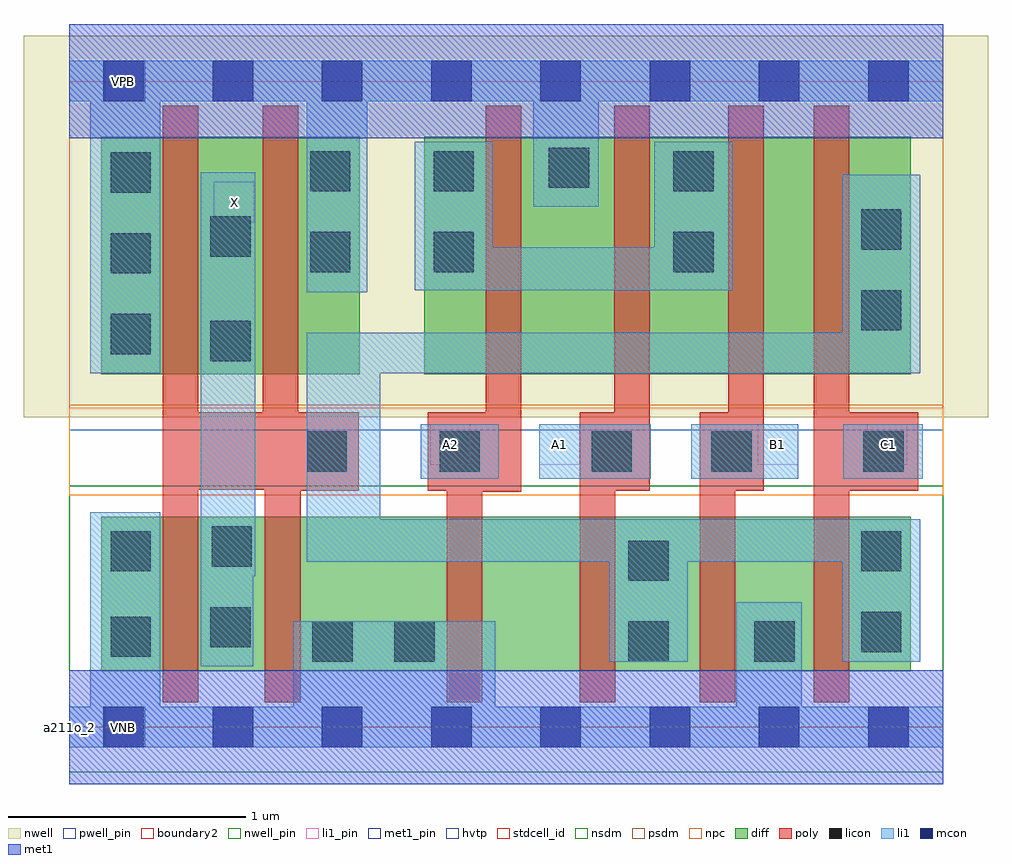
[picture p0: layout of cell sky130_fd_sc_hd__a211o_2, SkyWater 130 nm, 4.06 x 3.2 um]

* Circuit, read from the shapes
.subckt sky130_fd_sc_hd__a211o_2 A1 A2 B1 C1 VGND VNB VPB VPWR X
XM1 X n1 VGND VNB sky130_fd_pr__nfet_01v8 w=0.65 l=0.15 m=2
XM2 n2 A2 VGND VNB sky130_fd_pr__nfet_01v8 w=0.65 l=0.15
XM3 n1 A1 n2 VNB sky130_fd_pr__nfet_01v8 w=0.65 l=0.15
XM4 VGND B1 n1 VNB sky130_fd_pr__nfet_01v8 w=0.65 l=0.15
XM5 n1 C1 VGND VNB sky130_fd_pr__nfet_01v8 w=0.65 l=0.15
XM6 X n1 VPWR VPB sky130_fd_pr__pfet_01v8_hvt w=1 l=0.15 m=2
XM7 VPWR A2 n3 VPB sky130_fd_pr__pfet_01v8_hvt w=1 l=0.15
XM8 n3 A1 VPWR VPB sky130_fd_pr__pfet_01v8_hvt w=1 l=0.15
XM9 n4 B1 n3 VPB sky130_fd_pr__pfet_01v8_hvt w=1 l=0.15
XM10 n1 C1 n4 VPB sky130_fd_pr__pfet_01v8_hvt w=1 l=0.15
.ends

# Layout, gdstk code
import gdstk
lib = gdstk.Library(unit=1e-6, precision=1e-09)
def R(c, l, rs):  # rectangles x0, y0, x1, y1
    for r in rs: c.add(gdstk.rectangle(r[:2], r[2:], *l))
def A(c, l, x, y, w, h, nx, ny, dx, dy):  # array of equal rectangles
    R(c, l, [(x+i*dx, y+j*dy, x+i*dx+w, y+j*dy+h) for i in range(nx) for j in range(ny)])
def P(c, l, *ps):  # polygons
    for p in ps: c.add(gdstk.Polygon(p, *l))
nwell_pin = (64, 16)
nwell = (64, 20)
diff = (65, 20)
poly = (66, 20)
licon = (66, 44)
li1_pin = (67, 16)
li1 = (67, 20)
mcon = (67, 44)
met1_pin = (68, 16)
met1 = (68, 20)
hvtp = (78, 44)
stdcell_id = (81, 4)
nsdm = (93, 44)
psdm = (94, 20)
npc = (95, 20)
pwell_pin = (122, 16)
boundary2 = (236, 0)

sky130_fd_sc_hd__a211o_2 = lib.new_cell('sky130_fd_sc_hd__a211o_2')
R(sky130_fd_sc_hd__a211o_2, nwell_pin, [(0.15,2.635,0.32,2.805)])
R(sky130_fd_sc_hd__a211o_2, nwell, [(-0.19,1.305,3.87,2.91)])
R(sky130_fd_sc_hd__a211o_2, diff, [(0.135,0.235,3.545,0.885), (0.135,1.485,1.225,2.485), (1.495,1.485,3.545,2.485)])
R(sky130_fd_sc_hd__a211o_2, poly, [(1.755,0.99,1.905,2.615), (2.295,0.995,2.445,2.615), (2.775,1.31,2.925,2.615), (3.135,1.31,3.285,2.615)])
P(sky130_fd_sc_hd__a211o_2, poly, [(1.22,1.325),(0.965,1.325),(0.965,2.615),(0.815,2.615),(0.815,1.325),(0.545,1.325),(0.545,2.615),(0.395,2.615),(0.395,0.105),(0.545,0.105),(0.545,1),(0.825,1),(0.825,0.105),(0.975,0.105),(0.975,0.995),(1.22,0.995)],
  [(1.875,1.325),(1.51,1.325),(1.51,0.995),(1.59,0.995),(1.59,0.105),(1.74,0.105),(1.74,0.99),(1.875,0.99)],
  [(2.42,1.325),(2.15,1.325),(2.15,0.105),(2.3,0.105),(2.3,0.995),(2.42,0.995)],
  [(2.925,1.325),(2.655,1.325),(2.655,0.105),(2.805,0.105),(2.805,0.995),(2.925,0.995)],
  [(3.575,1.325),(3.135,1.325),(3.135,0.105),(3.285,0.105),(3.285,0.995),(3.575,0.995)])
A(sky130_fd_sc_hd__a211o_2, licon, 0.175, 1.57, 0.17, 0.17, 1, 3, 0, 0.34)
R(sky130_fd_sc_hd__a211o_2, licon, [(1.025,0.275,1.195,0.445), (1.37,0.275,1.54,0.445), (2.355,0.275,2.525,0.445), (2.885,0.275,3.055,0.445), (0.175,0.295,0.345,0.465), (3.335,0.315,3.505,0.485), (0.595,0.335,0.765,0.505), (2.355,0.615,2.525,0.785), (0.175,0.655,0.345,0.825), (3.335,0.655,3.505,0.825), (0.6,0.675,0.77,0.845), (1,1.075,1.17,1.245), (1.56,1.075,1.73,1.245), (2.2,1.075,2.37,1.245), (2.705,1.075,2.875,1.245), (3.345,1.075,3.515,1.245), (0.595,1.54,0.765,1.71), (3.335,1.67,3.505,1.84), (1.015,1.915,1.185,2.085), (1.535,1.915,1.705,2.085), (2.545,1.915,2.715,2.085), (0.595,1.98,0.765,2.15), (3.335,2.01,3.505,2.18), (1.015,2.255,1.185,2.425), (1.535,2.255,1.705,2.425), (2.545,2.255,2.715,2.425), (2.02,2.27,2.19,2.44)])
R(sky130_fd_sc_hd__a211o_2, li1_pin, [(1.52,1.105,1.69,1.275), (1.98,1.105,2.15,1.275), (2.9,1.105,3.07,1.275), (3.36,1.105,3.53,1.275), (0.61,2.125,0.78,2.295)])
R(sky130_fd_sc_hd__a211o_2, li1, [(1.48,1.045,1.81,1.275), (1.98,1.045,2.45,1.275), (2.62,1.045,3.07,1.275), (3.26,1.045,3.595,1.275)])
P(sky130_fd_sc_hd__a211o_2, li1, [(3.68,0.085),(3.085,0.085),(3.085,0.525),(2.81,0.525),(2.81,0.085),(1.795,0.085),(1.795,0.445),(0.945,0.445),(0.945,0.085),(0.385,0.085),(0.385,0.905),(0.09,0.905),(0.09,0.085),(0,0.085),(0,-0.085),(3.68,-0.085)],
  [(3.68,2.805),(0,2.805),(0,2.635),(0.09,2.635),(0.09,1.49),(0.385,1.49),(0.385,2.635),(1,2.635),(1,1.83),(1.255,1.83),(1.255,2.635),(1.955,2.635),(1.955,2.19),(2.23,2.19),(2.23,2.635),(3.68,2.635)],
  [(0.785,2.335),(0.555,2.335),(0.555,0.255),(0.775,0.255),(0.775,0.635),(0.785,0.635)],
  [(3.585,0.875),(1.31,0.875),(1.31,1.49),(3.585,1.49),(3.585,2.325),(3.255,2.325),(3.255,1.66),(1,1.66),(1,0.695),(2.275,0.695),(2.275,0.275),(2.605,0.275),(2.605,0.695),(3.255,0.695),(3.255,0.275),(3.585,0.275)],
  [(2.795,2.465),(2.465,2.465),(2.465,2.02),(1.785,2.02),(1.785,2.465),(1.455,2.465),(1.455,1.84),(2.795,1.84)])
A(sky130_fd_sc_hd__a211o_2, mcon, 0.145, -0.085, 0.17, 0.17, 8, 2, 0.46, 2.72)
R(sky130_fd_sc_hd__a211o_2, met1_pin, [(0.15,-0.085,0.32,0.085), (0.15,2.635,0.32,2.805)])
R(sky130_fd_sc_hd__a211o_2, hvtp, [(0,1.25,3.68,2.72)])
R(sky130_fd_sc_hd__a211o_2, stdcell_id, [(0,0,3.68,2.72)])
R(sky130_fd_sc_hd__a211o_2, nsdm, [(0,-0.19,3.68,1.015)])
R(sky130_fd_sc_hd__a211o_2, psdm, [(0,1.355,3.68,2.91)])
R(sky130_fd_sc_hd__a211o_2, npc, [(0,0.975,3.68,1.345)])
R(sky130_fd_sc_hd__a211o_2, pwell_pin, [(0.15,-0.085,0.32,0.085)])
R(sky130_fd_sc_hd__a211o_2, boundary2, [(0,0,3.68,2.72)])
sky130_fd_sc_hd__a211o_2.add(gdstk.FlexPath([(0,2.72),(3.68,2.72)], 0.48, ends="flush", simple_path=True, layer=68, datatype=20))  # met1
sky130_fd_sc_hd__a211o_2.add(gdstk.FlexPath([(0,0),(3.68,0)], 0.48, ends="flush", simple_path=True, layer=68, datatype=20))  # met1
sky130_fd_sc_hd__a211o_2.add(gdstk.Label('X', (0.695,2.21), layer=67, texttype=5))
sky130_fd_sc_hd__a211o_2.add(gdstk.Label('A2', (1.605,1.19), layer=67, texttype=5))
sky130_fd_sc_hd__a211o_2.add(gdstk.Label('A1', (2.065,1.19), layer=67, texttype=5))
sky130_fd_sc_hd__a211o_2.add(gdstk.Label('B1', (2.985,1.19), layer=67, texttype=5))
sky130_fd_sc_hd__a211o_2.add(gdstk.Label('C1', (3.45,1.19), layer=67, texttype=5))
sky130_fd_sc_hd__a211o_2.add(gdstk.Label('VNB', (0.23,0), layer=64, texttype=59))
sky130_fd_sc_hd__a211o_2.add(gdstk.Label('VPB', (0.23,2.72), layer=64, texttype=5))
sky130_fd_sc_hd__a211o_2.add(gdstk.Label('VGND', (0.23,0), layer=68, texttype=5))
sky130_fd_sc_hd__a211o_2.add(gdstk.Label('VPWR', (0.23,2.72), layer=68, texttype=5))
sky130_fd_sc_hd__a211o_2.add(gdstk.Label('a211o_2', (0,0), layer=83, texttype=44))

lib.write_gds('sky130_fd_sc_hd__a211o_2.gds')
